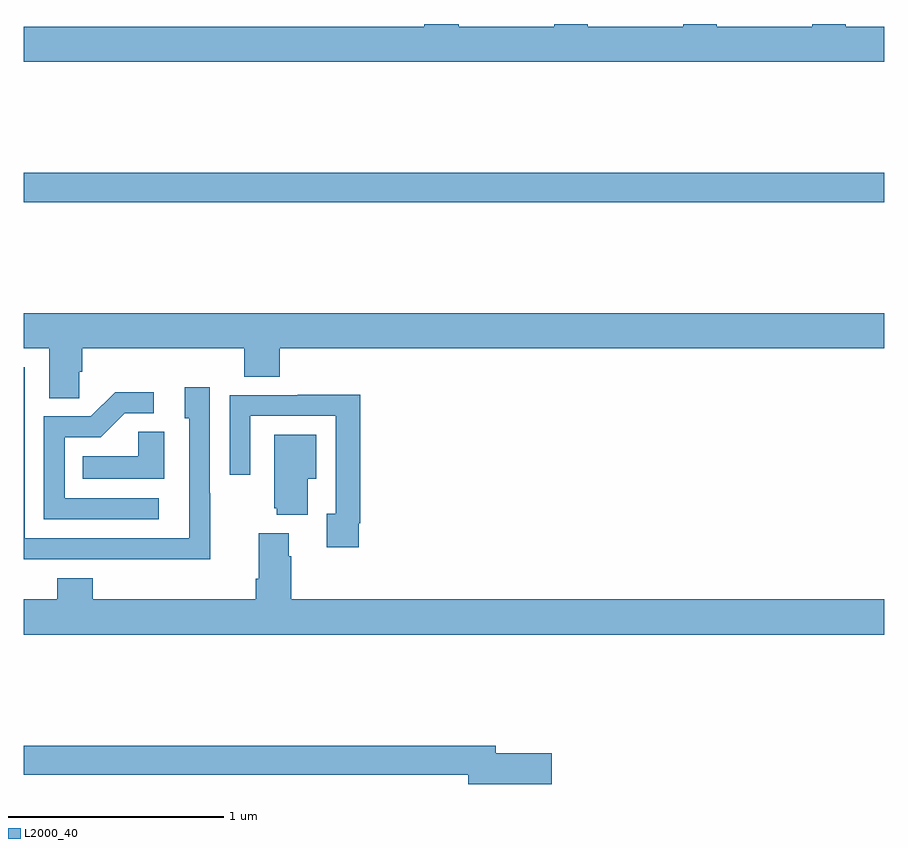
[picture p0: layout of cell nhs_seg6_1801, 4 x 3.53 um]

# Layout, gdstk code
import gdstk
lib = gdstk.Library(unit=1e-6, precision=1e-09)
def R(c, l, rs):  # rectangles x0, y0, x1, y1
    for r in rs: c.add(gdstk.rectangle(r[:2], r[2:], *l))
def P(c, l, *ps):  # polygons
    for p in ps: c.add(gdstk.Polygon(p, *l))
L2000_40 = (2000, 40)

nhs_seg6_1801 = lib.new_cell('nhs_seg6_1801')
R(nhs_seg6_1801, L2000_40, [(219,958.672,223,958.808)])
P(nhs_seg6_1801, L2000_40, [(223,959.488),(222.822,959.488),(222.822,959.5),(222.667,959.5),(222.667,959.488),(222.222,959.488),(222.222,959.5),(222.067,959.5),(222.067,959.488),(221.622,959.488),(221.622,959.5),(221.467,959.5),(221.467,959.488),(221.022,959.488),(221.022,959.5),(220.862,959.5),(220.862,959.488),(219,959.488),(219,959.324),(223,959.324)],
  [(219.258,957.883),(219.272,957.883),(219.272,957.992),(220.025,957.992),(220.025,957.859),(220.19,957.859),(220.19,957.992),(223,957.992),(223,958.156),(219,958.156),(219,957.992),(219.119,957.992),(219.119,957.76),(219.258,957.76)],
  [(219.867,957.317),(219.864,957.317),(219.864,957.811),(219.749,957.811),(219.749,957.666),(219.768,957.666),(219.768,957.108),(219.003,957.108),(219.003,957.903),(219,957.903),(219,957.012),(219.403,957.012),(219.403,957.011),(219.867,957.011)],
  [(219.628,957.294),(219.189,957.294),(219.189,957.579),(219.358,957.579),(219.469,957.69),(219.604,957.69),(219.604,957.788),(219.425,957.788),(219.312,957.675),(219.093,957.675),(219.093,957.198),(219.628,957.198)],
  [(220.558,957.178),(220.565,957.178),(220.565,957.776),(220.273,957.776),(220.273,957.774),(219.957,957.774),(219.957,957.405),(220.053,957.405),(220.053,957.678),(220.449,957.678),(220.449,957.222),(220.409,957.222),(220.409,957.066),(220.558,957.066)],
  [(219.652,957.605),(219.531,957.605),(219.531,957.49),(219.274,957.49),(219.274,957.386),(219.652,957.386)],
  [(220.321,957.386),(220.36,957.386),(220.36,957.589),(220.163,957.589),(220.163,957.249),(220.175,957.249),(220.175,957.218),(220.321,957.218)],
  [(223,956.824),(220.244,956.824),(220.244,957.026),(220.231,957.026),(220.231,957.133),(220.091,957.133),(220.091,956.92),(220.079,956.92),(220.079,956.824),(219.32,956.824),(219.32,956.923),(219.155,956.923),(219.155,956.824),(219,956.824),(219,956.66),(223,956.66)],
  [(221.455,956.108),(221.194,956.108),(221.194,956.144),(219,956.144),(219,956.008),(221.066,956.008),(221.066,955.966),(221.455,955.966)])

lib.write_gds('nhs_seg6_1801.gds')
